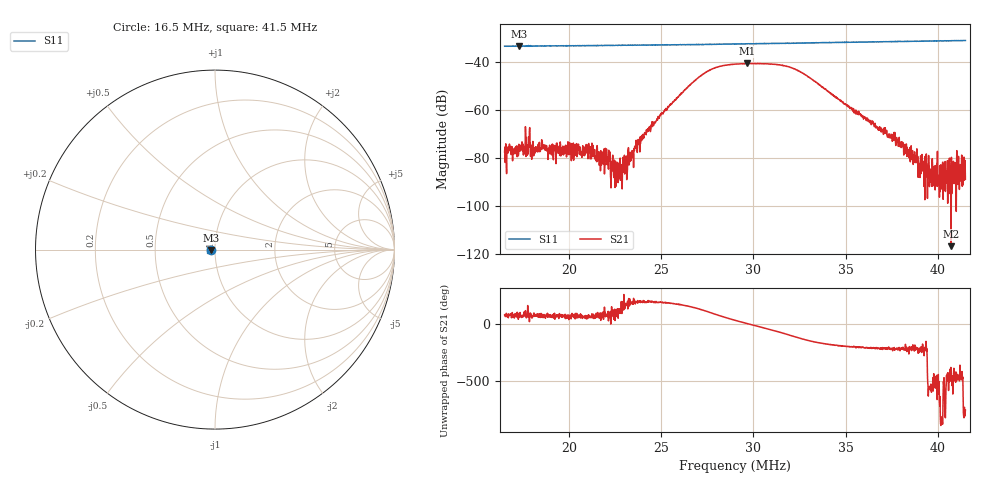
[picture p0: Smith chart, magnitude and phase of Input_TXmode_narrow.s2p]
# HZ S RI R 50
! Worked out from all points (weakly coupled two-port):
!   1616 points, 16.5 MHz to 41.5 MHz, reference 50 ohm
!   highest |S21| = -40.65 dB at 29.67 MHz (marker M1); lowest = -116.8 dB at 40.73 MHz (marker M2)
!   lowest |S11| = -33.6 dB at 17.3 MHz (marker M3), VSWR 1.04, Z = 48 - j0.158 ohm
!   |S11| at or under -10 dB: start of sweep to end of sweep
!   S12 and S22 are empty: the file has one direction only
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1.65e7  -0.0212 -0.00174  2.95e-05 0.000129  0 0  0 0
1.730496e7  -0.0209 -0.00165  8.62e-05 0.000119  0 0  0 0
1.775388e7  -0.0213 -0.00175  -0.000174 7.16e-05  0 0  0 0
1.803252e7  -0.0212 -0.00206  7.89e-05 0.000206  0 0  0 0
1.862076e7  -0.0214 -0.00216  7.68e-05 0.000163  0 0  0 0
1.893036e7  -0.0215 -0.0021  5.4e-05 0.000162  0 0  0 0
1.99056e7  -0.0215 -0.00231  8.38e-05 0.000108  0 0  0 0
2.06796e7  -0.0215 -0.00257  7.4e-05 0.000102  0 0  0 0
2.100468e7  -0.0217 -0.00259  7.26e-05 0.000171  0 0  0 0
2.236692e7  -0.0219 -0.00268  -2.19e-05 0.000112  0 0  0 0
2.337312e7  -0.0223 -0.00295  -0.000115 6.5e-06  0 0  0 0
2.40078e7  -0.0222 -0.00315  -0.000295 -9.07e-05  0 0  0 0
2.484372e7  -0.0224 -0.00336  -0.000666 -5.91e-05  0 0  0 0
2.730504e7  -0.0228 -0.00368  -0.00245 0.00511  0 0  0 0
2.900784e7  -0.0233 -0.00381  0.00788 0.00434  0 0  0 0
2.967348e7  -0.0235 -0.00402  0.00928 -2.12e-05  0 0  0 0
3.180972e7  -0.0241 -0.0043  -0.000461 -0.00808  0 0  0 0
3.317196e7  -0.0244 -0.00439  -0.00392 -0.00186  0 0  0 0
3.733608e7  -0.026 -0.00465  -0.000289 0.000125  0 0  0 0
3.87138e7  -0.0266 -0.00484  -6.79e-05 4.22e-05  0 0  0 0
4.07262e7  -0.0273 -0.00469  1.24e-06 -7.59e-07  0 0  0 0
4.15002e7  -0.0275 -0.00473  2.93e-05 -2.12e-05  0 0  0 0
